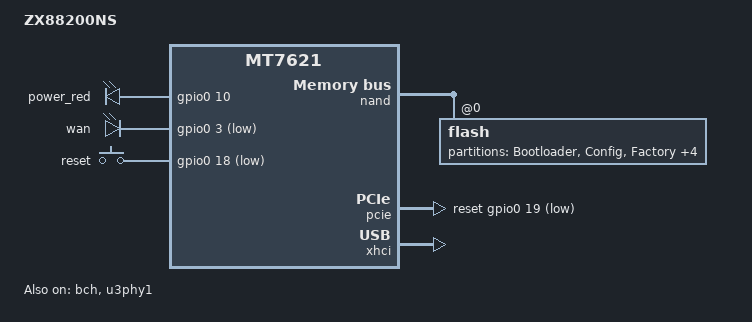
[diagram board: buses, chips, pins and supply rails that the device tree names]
/dts-v1/;

#include "mt7621.dtsi"
#include <dt-bindings/input/input.h>
#include "mt7621-raeth-gmac2.dtsi"
#include "mt7621-pinctrl-default-gpio.dtsi"

/ {
	compatible = "mediatek,mt7621-soc";
	model = "ZX88200NS";

	chosen {
		bootargs = "console=ttyS0,115200";
	};

	leds {
		compatible = "gpio-leds";

		sys_red {
			label = "power_red";
			gpios = <&gpio0 10 GPIO_ACTIVE_HIGH>;
		};

		wan {
			label = "wan";
			gpios = <&gpio0 3 GPIO_ACTIVE_LOW>;
		};
	};
	
	gpio-keys-polled {
		compatible = "gpio-keys-polled";
		#address-cells = <1>;
		#size-cells = <0>;
		poll-interval = <20>;

		reset {
			label = "reset";
			gpios = <&gpio0 18 GPIO_ACTIVE_LOW>;
			linux,code = <KEY_RESTART>;
		};

	};
	
};

&bch {
	status = "okay";
};

&nand {
	status = "okay";

	flash@0 {
		reg = <0>;
		nand-ecc-mode = "hw";
		partitions {
			compatible = "fixed-partitions";
			#address-cells = <1>;
			#size-cells = <1>;

			partition@0 {
				label = "Bootloader";
				reg = <0x0 0x80000>; /* 512k */
			};
						
			partition@80000 {
				label = "Config";
				reg = <0x80000 0x80000>; /* 512k */
			};

			partition@100000 {
				label = "Factory";
				reg = <0x100000 0x40000>; /* 256k */
			};

			partition@140000 {
				label = "firmware";
				reg = <0x140000 0x2000000>; /* 32M */
			};
			
			partition@2140000 {
				label = "Storage";
				reg = <0x2140000 0x600000>; /* 4096K */
			};

			partition@2540000 {
				label = "RWFS";
				reg = <0x2540000 0x5A40000>;
			};

			partition@all {
				label = "ALL";
				reg = <0x0 0x7f80000>;
			};
		};
	};
};

&pcie {
	status = "okay";
	reset-gpios = <&gpio0 19 1>, <&gpio0 4 1>;
	reset-gpio-names = "pcie0", "pcie1";

};

&xhci {
	status = "okay";
};

&u3phy1 {
	status = "okay";
};
